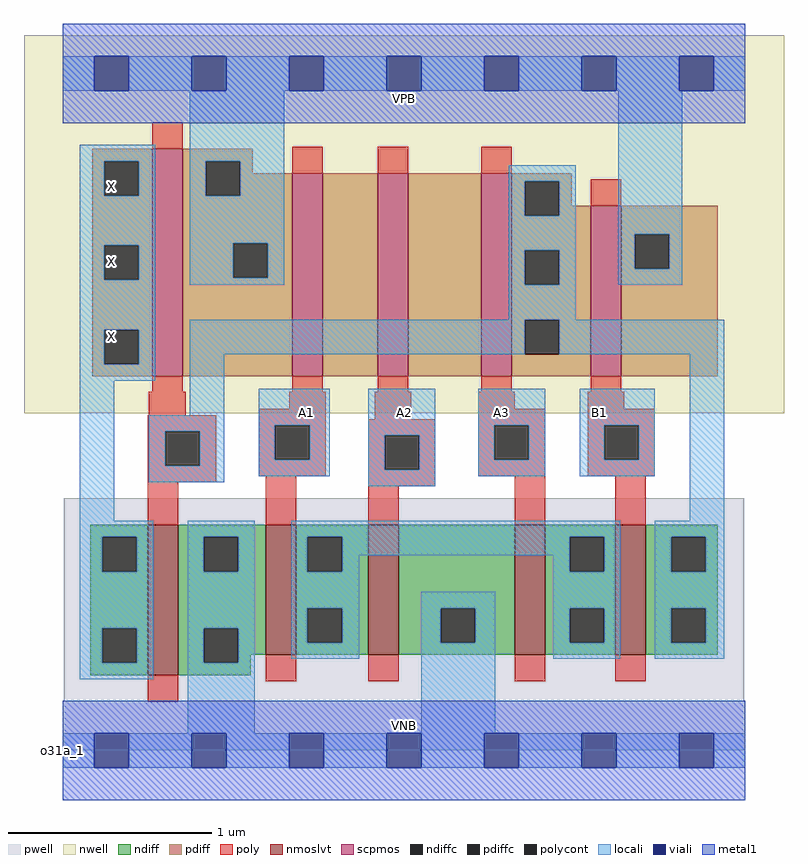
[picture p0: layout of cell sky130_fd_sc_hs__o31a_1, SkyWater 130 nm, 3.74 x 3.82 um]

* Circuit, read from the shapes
.subckt sky130_fd_sc_hs__o31a_1 A1 A2 A3 B1 VGND VNB VPB VPWR X
XM1 VGND n1 X VNB sky130_fd_pr__nfet_01v8_lvt w=0.74 l=0.15
XM2 n2 A1 VGND VNB sky130_fd_pr__nfet_01v8_lvt w=0.64 l=0.15
XM3 VGND A2 n2 VNB sky130_fd_pr__nfet_01v8_lvt w=0.64 l=0.15
XM4 n2 A3 VGND VNB sky130_fd_pr__nfet_01v8_lvt w=0.64 l=0.15
XM5 n1 B1 n2 VNB sky130_fd_pr__nfet_01v8_lvt w=0.64 l=0.15
XM6 VPWR n1 X VPB sky130_fd_pr__pfet_01v8 w=1.12 l=0.15
XM7 n3 A1 VPWR VPB sky130_fd_pr__pfet_01v8 w=1 l=0.15
XM8 n4 A2 n3 VPB sky130_fd_pr__pfet_01v8 w=1 l=0.15
XM9 n1 A3 n4 VPB sky130_fd_pr__pfet_01v8 w=1 l=0.15
XM10 VPWR B1 n1 VPB sky130_fd_pr__pfet_01v8 w=0.84 l=0.15
.ends

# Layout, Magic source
magic
tech sky130A
magscale 1 2
<< nwell >>
rect -38 332 710 704
<< pwell >>
rect 1 49 671 248
rect 0 0 672 49
<< scpmos >>
rect 88 368 118 592
rect 226 368 256 568
rect 310 368 340 568
rect 412 368 442 568
rect 520 368 550 536
<< nmoslvt >>
rect 84 74 114 222
rect 200 94 230 222
rect 301 94 331 222
rect 445 94 475 222
rect 544 94 574 222
<< ndiff >>
rect 27 210 84 222
rect 27 176 39 210
rect 73 176 84 210
rect 27 120 84 176
rect 27 86 39 120
rect 73 86 84 120
rect 27 74 84 86
rect 114 210 200 222
rect 114 176 139 210
rect 173 176 200 210
rect 114 120 200 176
rect 114 86 139 120
rect 173 94 200 120
rect 230 210 301 222
rect 230 176 241 210
rect 275 176 301 210
rect 230 140 301 176
rect 230 106 241 140
rect 275 106 301 140
rect 230 94 301 106
rect 331 140 445 222
rect 331 106 372 140
rect 406 106 445 140
rect 331 94 445 106
rect 475 210 544 222
rect 475 176 499 210
rect 533 176 544 210
rect 475 140 544 176
rect 475 106 499 140
rect 533 106 544 140
rect 475 94 544 106
rect 574 210 645 222
rect 574 176 599 210
rect 633 176 645 210
rect 574 140 645 176
rect 574 106 599 140
rect 633 106 645 140
rect 574 94 645 106
rect 173 86 185 94
rect 114 74 185 86
<< pdiff >>
rect 29 580 88 592
rect 29 546 41 580
rect 75 546 88 580
rect 29 497 88 546
rect 29 463 41 497
rect 75 463 88 497
rect 29 414 88 463
rect 29 380 41 414
rect 75 380 88 414
rect 29 368 88 380
rect 118 580 187 592
rect 118 546 141 580
rect 175 568 187 580
rect 175 546 226 568
rect 118 499 226 546
rect 118 465 168 499
rect 202 465 226 499
rect 118 368 226 465
rect 256 368 310 568
rect 340 368 412 568
rect 442 560 501 568
rect 442 526 455 560
rect 489 536 501 560
rect 489 526 520 536
rect 442 492 520 526
rect 442 458 455 492
rect 489 458 520 492
rect 442 424 520 458
rect 442 390 455 424
rect 489 390 520 424
rect 442 368 520 390
rect 550 508 645 536
rect 550 474 563 508
rect 597 474 645 508
rect 550 368 645 474
<< ndiffc >>
rect 39 176 73 210
rect 39 86 73 120
rect 139 176 173 210
rect 139 86 173 120
rect 241 176 275 210
rect 241 106 275 140
rect 372 106 406 140
rect 499 176 533 210
rect 499 106 533 140
rect 599 176 633 210
rect 599 106 633 140
<< pdiffc >>
rect 41 546 75 580
rect 41 463 75 497
rect 41 380 75 414
rect 141 546 175 580
rect 168 465 202 499
rect 455 526 489 560
rect 455 458 489 492
rect 455 390 489 424
rect 563 474 597 508
<< poly >>
rect 88 592 118 618
rect 226 568 256 594
rect 310 568 340 594
rect 412 568 442 594
rect 520 536 550 562
rect 88 353 118 368
rect 226 353 256 368
rect 310 353 340 368
rect 412 353 442 368
rect 520 353 550 368
rect 85 330 121 353
rect 223 336 259 353
rect 84 314 151 330
rect 84 280 101 314
rect 135 280 151 314
rect 84 264 151 280
rect 193 320 259 336
rect 307 326 343 353
rect 409 336 445 353
rect 517 336 553 353
rect 193 286 209 320
rect 243 286 259 320
rect 193 270 259 286
rect 301 310 367 326
rect 301 276 317 310
rect 351 276 367 310
rect 84 222 114 264
rect 200 222 230 270
rect 301 260 367 276
rect 409 320 475 336
rect 409 286 425 320
rect 459 286 475 320
rect 409 270 475 286
rect 517 320 583 336
rect 517 286 533 320
rect 567 286 583 320
rect 517 270 583 286
rect 301 222 331 260
rect 445 222 475 270
rect 544 222 574 270
rect 84 48 114 74
rect 200 68 230 94
rect 301 68 331 94
rect 445 68 475 94
rect 544 68 574 94
<< polycont >>
rect 101 280 135 314
rect 209 286 243 320
rect 317 276 351 310
rect 425 286 459 320
rect 533 286 567 320
<< locali >>
rect 0 649 31 683
rect 65 649 127 683
rect 161 649 223 683
rect 257 649 319 683
rect 353 649 415 683
rect 449 649 511 683
rect 545 649 607 683
rect 641 649 672 683
rect 17 580 91 596
rect 17 546 41 580
rect 75 546 91 580
rect 17 497 91 546
rect 17 463 41 497
rect 75 463 91 497
rect 17 414 91 463
rect 125 580 218 649
rect 125 546 141 580
rect 175 546 218 580
rect 125 499 218 546
rect 125 465 168 499
rect 202 465 218 499
rect 125 458 218 465
rect 439 560 505 576
rect 439 526 455 560
rect 489 526 505 560
rect 439 492 505 526
rect 439 458 455 492
rect 489 458 505 492
rect 547 508 610 649
rect 547 474 563 508
rect 597 474 610 508
rect 547 458 610 474
rect 439 424 505 458
rect 17 380 41 414
rect 75 380 91 414
rect 17 364 91 380
rect 125 390 455 424
rect 489 390 651 424
rect 17 226 51 364
rect 125 330 159 390
rect 85 314 159 330
rect 85 280 101 314
rect 135 280 159 314
rect 85 264 159 280
rect 193 320 263 356
rect 193 286 209 320
rect 243 286 263 320
rect 193 270 263 286
rect 301 310 367 356
rect 301 276 317 310
rect 351 276 367 310
rect 301 260 367 276
rect 409 320 475 356
rect 409 286 425 320
rect 459 286 475 320
rect 409 270 475 286
rect 509 320 583 356
rect 509 286 533 320
rect 567 286 583 320
rect 509 270 583 286
rect 617 226 651 390
rect 17 210 89 226
rect 17 176 39 210
rect 73 176 89 210
rect 17 120 89 176
rect 17 86 39 120
rect 73 86 89 120
rect 17 70 89 86
rect 123 210 189 226
rect 123 176 139 210
rect 173 176 189 210
rect 123 120 189 176
rect 123 86 139 120
rect 173 86 189 120
rect 225 210 549 226
rect 225 176 241 210
rect 275 192 499 210
rect 275 176 292 192
rect 225 140 292 176
rect 483 176 499 192
rect 533 176 549 210
rect 225 106 241 140
rect 275 106 292 140
rect 225 90 292 106
rect 353 140 426 156
rect 353 106 372 140
rect 406 106 426 140
rect 123 17 189 86
rect 353 17 426 106
rect 483 140 549 176
rect 483 106 499 140
rect 533 106 549 140
rect 483 90 549 106
rect 583 210 651 226
rect 583 176 599 210
rect 633 176 651 210
rect 583 140 651 176
rect 583 106 599 140
rect 633 106 651 140
rect 583 90 651 106
rect 0 -17 31 17
rect 65 -17 127 17
rect 161 -17 223 17
rect 257 -17 319 17
rect 353 -17 415 17
rect 449 -17 511 17
rect 545 -17 607 17
rect 641 -17 672 17
<< viali >>
rect 31 649 65 683
rect 127 649 161 683
rect 223 649 257 683
rect 319 649 353 683
rect 415 649 449 683
rect 511 649 545 683
rect 607 649 641 683
rect 31 -17 65 17
rect 127 -17 161 17
rect 223 -17 257 17
rect 319 -17 353 17
rect 415 -17 449 17
rect 511 -17 545 17
rect 607 -17 641 17
<< metal1 >>
rect 0 683 672 715
rect 0 649 31 683
rect 65 649 127 683
rect 161 649 223 683
rect 257 649 319 683
rect 353 649 415 683
rect 449 649 511 683
rect 545 649 607 683
rect 641 649 672 683
rect 0 617 672 649
rect 0 17 672 49
rect 0 -17 31 17
rect 65 -17 127 17
rect 161 -17 223 17
rect 257 -17 319 17
rect 353 -17 415 17
rect 449 -17 511 17
rect 545 -17 607 17
rect 641 -17 672 17
rect 0 -49 672 -17
<< labels >>
rlabel comment s 0 0 0 0 4 o31a_1
flabel pwell s 0 0 672 49 0 FreeSans 200 0 0 0 VNB
port 6 nsew ground bidirectional
flabel nwell s 0 617 672 666 0 FreeSans 200 0 0 0 VPB
port 7 nsew power bidirectional
flabel metal1 s 0 617 672 666 0 FreeSans 340 0 0 0 VPWR
port 8 nsew power bidirectional
flabel metal1 s 0 0 672 49 0 FreeSans 340 0 0 0 VGND
port 5 nsew ground bidirectional
flabel locali s 511 316 545 350 0 FreeSans 340 0 0 0 B1
port 4 nsew signal input
flabel locali s 319 316 353 350 0 FreeSans 340 0 0 0 A2
port 2 nsew signal input
flabel locali s 223 316 257 350 0 FreeSans 340 0 0 0 A1
port 1 nsew signal input
flabel locali s 415 316 449 350 0 FreeSans 340 0 0 0 A3
port 3 nsew signal input
flabel locali s 31 390 65 424 0 FreeSans 340 0 0 0 X
port 9 nsew signal output
flabel locali s 31 464 65 498 0 FreeSans 340 0 0 0 X
port 9 nsew signal output
flabel locali s 31 538 65 572 0 FreeSans 340 0 0 0 X
port 9 nsew signal output
<< properties >>
string LEFsite unit
string LEFclass CORE
string FIXED_BBOX 0 0 672 666
string GDS_FILE $PDKPATH/libs.ref/sky130_fd_sc_hs/gds/sky130_fd_sc_hs.gds
string LEFsymmetry X Y
string GDS_END 1139452
string GDS_START 1133086
<< end >>
